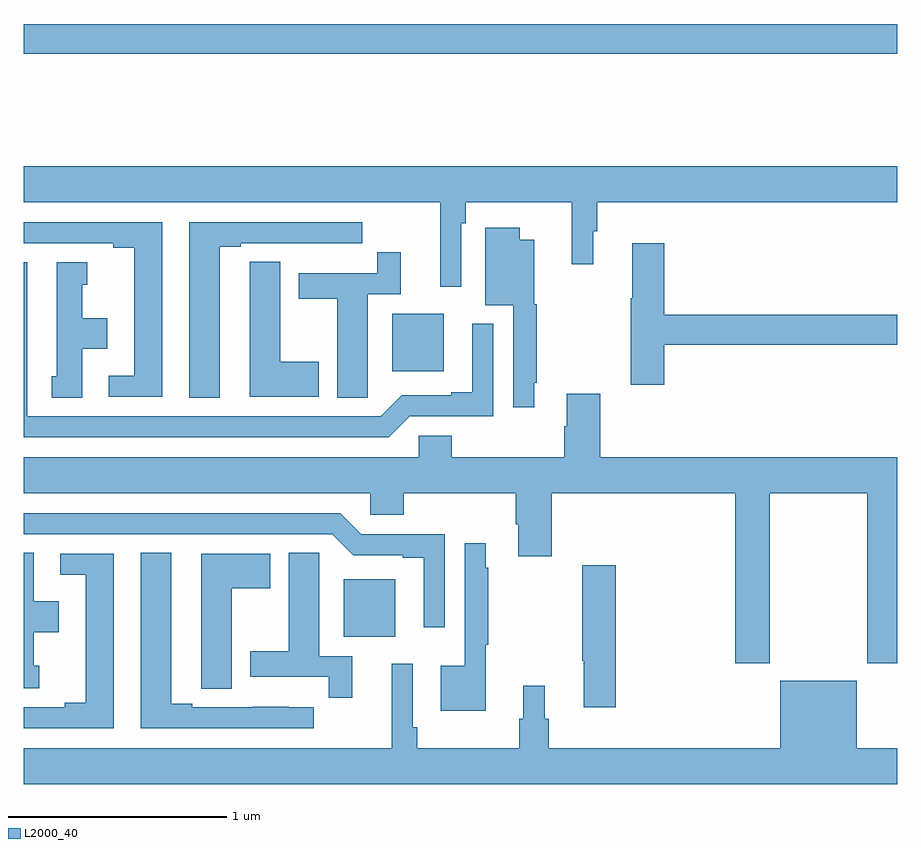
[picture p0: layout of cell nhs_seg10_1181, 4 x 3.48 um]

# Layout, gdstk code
import gdstk
lib = gdstk.Library(unit=1e-6, precision=1e-09)
def R(c, l, rs):  # rectangles x0, y0, x1, y1
    for r in rs: c.add(gdstk.rectangle(r[:2], r[2:], *l))
def P(c, l, *ps):  # polygons
    for p in ps: c.add(gdstk.Polygon(p, *l))
L2000_40 = (2000, 40)

nhs_seg10_1181 = lib.new_cell('nhs_seg10_1181')
R(nhs_seg10_1181, L2000_40, [(172.466,1307.651,172.702,1307.914), (172.688,1308.866,172.924,1309.129), (171,1310.32,175,1310.456)])
P(nhs_seg10_1181, L2000_40, [(173.004,1309.544),(173.024,1309.544),(173.024,1309.64),(173.509,1309.64),(173.509,1309.356),(173.608,1309.356),(173.608,1309.506),(173.627,1309.506),(173.627,1309.64),(175,1309.64),(175,1309.804),(171,1309.804),(171,1309.64),(172.907,1309.64),(172.907,1309.254),(173.004,1309.254)],
  [(171.634,1309.548),(171,1309.548),(171,1309.452),(171.41,1309.452),(171.41,1309.432),(171.506,1309.432),(171.506,1308.846),(171.39,1308.846),(171.39,1308.75),(171.634,1308.75)],
  [(171.898,1309.437),(171.994,1309.437),(171.994,1309.452),(172.27,1309.452),(172.27,1309.451),(172.436,1309.451),(172.436,1309.452),(172.549,1309.452),(172.549,1309.548),(171.758,1309.548),(171.758,1308.745),(171.898,1308.745)],
  [(173.338,1308.814),(173.35,1308.814),(173.35,1309.173),(173.338,1309.173),(173.338,1309.468),(173.272,1309.468),(173.272,1309.522),(173.114,1309.522),(173.114,1309.169),(173.241,1309.169),(173.241,1308.702),(173.338,1308.702)],
  [(173.933,1308.988),(175,1308.988),(175,1309.124),(173.933,1309.124),(173.933,1309.453),(173.786,1309.453),(173.786,1309.201),(173.779,1309.201),(173.779,1308.804),(173.933,1308.804)],
  [(172.575,1308.856),(172.576,1308.856),(172.576,1309.218),(172.727,1309.218),(172.727,1309.411),(172.618,1309.411),(172.618,1309.314),(172.259,1309.314),(172.259,1309.198),(172.436,1309.198),(172.436,1308.745),(172.575,1308.745)],
  [(172.351,1308.909),(172.174,1308.909),(172.174,1309.367),(172.035,1309.367),(172.035,1309.259),(172.034,1309.259),(172.034,1308.749),(172.351,1308.749)],
  [(171.268,1308.968),(171.382,1308.968),(171.382,1309.108),(171.268,1309.108),(171.268,1309.263),(171.292,1309.263),(171.292,1309.366),(171.152,1309.366),(171.152,1308.843),(171.128,1308.843),(171.128,1308.745),(171.268,1308.745)],
  [(172.767,1308.66),(173.151,1308.66),(173.151,1309.084),(173.054,1309.084),(173.054,1308.769),(172.958,1308.769),(172.958,1308.756),(172.731,1308.756),(172.635,1308.66),(171.016,1308.66),(171.016,1309.366),(171,1309.366),(171,1308.564),(172.671,1308.564)],
  [(173.639,1308.763),(173.486,1308.763),(173.486,1308.614),(173.474,1308.614),(173.474,1308.472),(172.961,1308.472),(172.961,1308.57),(172.809,1308.57),(172.809,1308.472),(171,1308.472),(171,1308.308),(172.587,1308.308),(172.587,1308.21),(172.739,1308.21),(172.739,1308.308),(173.252,1308.308),(173.252,1308.166),(173.264,1308.166),(173.264,1308.018),(173.417,1308.018),(173.417,1308.308),(174.257,1308.308),(174.257,1307.529),(174.417,1307.529),(174.417,1308.308),(174.862,1308.308),(174.862,1307.529),(175,1307.529),(175,1308.472),(173.639,1308.472)],
  [(172.929,1308.12),(172.545,1308.12),(172.449,1308.216),(171,1308.216),(171,1308.12),(172.413,1308.12),(172.509,1308.024),(172.736,1308.024),(172.736,1308.012),(172.832,1308.012),(172.832,1307.694),(172.929,1307.694)],
  [(173.116,1307.614),(173.128,1307.614),(173.128,1307.966),(173.116,1307.966),(173.116,1308.079),(173.019,1308.079),(173.019,1307.518),(172.91,1307.518),(172.91,1307.312),(173.116,1307.312)],
  [(172.505,1307.562),(172.354,1307.562),(172.354,1307.924),(172.353,1307.924),(172.353,1308.035),(172.214,1308.035),(172.214,1307.583),(172.037,1307.583),(172.037,1307.466),(172.396,1307.466),(172.396,1307.37),(172.505,1307.37)],
  [(172.327,1307.328),(172.214,1307.328),(172.214,1307.329),(172.048,1307.329),(172.048,1307.328),(171.772,1307.328),(171.772,1307.343),(171.676,1307.343),(171.676,1308.035),(171.536,1308.035),(171.536,1307.232),(172.327,1307.232)],
  [(171.07,1307.517),(171.046,1307.517),(171.046,1307.672),(171.16,1307.672),(171.16,1307.812),(171.046,1307.812),(171.046,1308.035),(171,1308.035),(171,1307.415),(171.07,1307.415)],
  [(171.952,1307.872),(172.129,1307.872),(172.129,1308.031),(171.812,1308.031),(171.812,1307.521),(171.813,1307.521),(171.813,1307.413),(171.952,1307.413)],
  [(171.412,1308.03),(171.168,1308.03),(171.168,1307.934),(171.284,1307.934),(171.284,1307.348),(171.188,1307.348),(171.188,1307.328),(171,1307.328),(171,1307.232),(171.412,1307.232)],
  [(173.711,1307.977),(173.557,1307.977),(173.557,1307.54),(173.564,1307.54),(173.564,1307.328),(173.711,1307.328)],
  [(175,1307.14),(174.814,1307.14),(174.814,1307.449),(174.464,1307.449),(174.464,1307.14),(173.405,1307.14),(173.405,1307.274),(173.386,1307.274),(173.386,1307.425),(173.288,1307.425),(173.288,1307.274),(173.269,1307.274),(173.269,1307.14),(172.802,1307.14),(172.802,1307.236),(172.782,1307.236),(172.782,1307.527),(172.685,1307.527),(172.685,1307.14),(171,1307.14),(171,1306.976),(175,1306.976)])

lib.write_gds('nhs_seg10_1181.gds')
